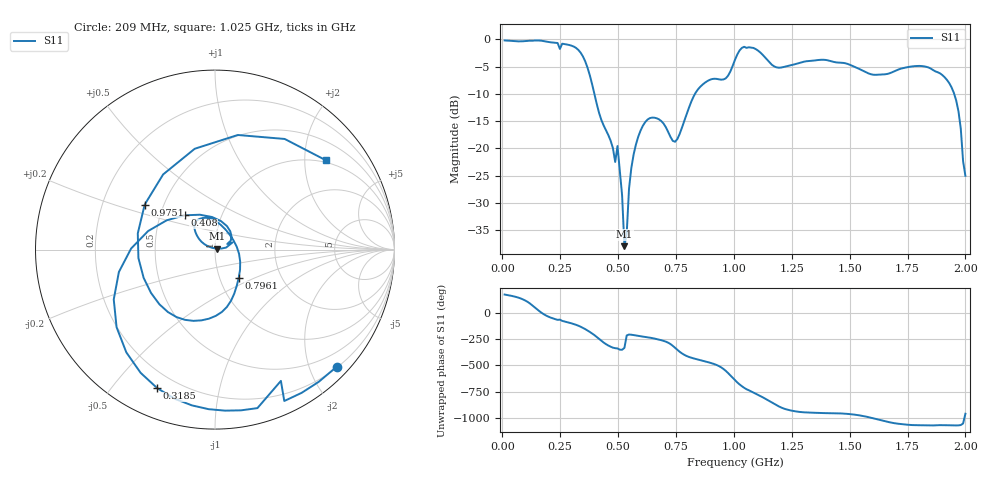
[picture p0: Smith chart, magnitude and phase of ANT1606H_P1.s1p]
!Created with skrf (http://scikit-rf.org).
# Hz S RI R 50.0
!freq ReS11 ImS11
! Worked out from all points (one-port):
!   201 points, 10 MHz to 2 GHz, reference 50 ohm
!   lowest |S11| = -38.0 dB at 527.4 MHz (marker M1), VSWR 1.03, Z = 51.1 + j0.6 ohm
!   |S11| at or under -10 dB: 397.8 MHz to 832.2 MHz (434.4 MHz wide, 70.6 % of centre); 1.952 GHz to end of sweep
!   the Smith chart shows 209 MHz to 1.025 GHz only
!   S11 on the Smith chart (normalised r, x): 209 MHz: 0.22, -2.46; 318.4 MHz: 0.13, -0.66; 408 MHz: 0.67, +0.27; 796 MHz: 1.23, -0.41; 975.1 MHz: 0.39, +0.25; 1.025 GHz: 0.94, +2.53
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1e7  -0.9766 0.069
7.965e7  -0.7196 0.6361
1.1945e8  -0.0121 0.974
1.5925e8  0.9234 0.321
2.09e8  0.6775 -0.6532
2.5875e8  0.2364 -0.8832
3.1845e8  -0.3219 -0.772
3.5825e8  -0.5641 -0.2776
4.08e8  -0.1696 0.1911
5.075e8  0.062 0.0114
5.274e8  0.0112 0.00586
5.5725e8  -0.0588 0.0301
6.07e8  -0.1136 0.1143
7.5625e8  0.1209 0.0167
7.9605e8  0.1321 -0.1576
9.055e8  -0.2144 -0.376
9.7515e8  -0.3916 0.2512
1.005e9  0.1271 0.6385
1.0249e9  0.6184 0.4973
1.0647e9  0.8125 -0.2419
1.11445e9  0.2478 -0.7171
1.17415e9  -0.4705 -0.3148
1.25375e9  -0.4912 0.3176
1.5025e9  -0.2534 0.5261
1.75125e9  0.5396 0.1391
1.9403e9  0.359 0.0544
1.97015e9  0.2162 0.0331
2e9  -0.0274 0.0488
